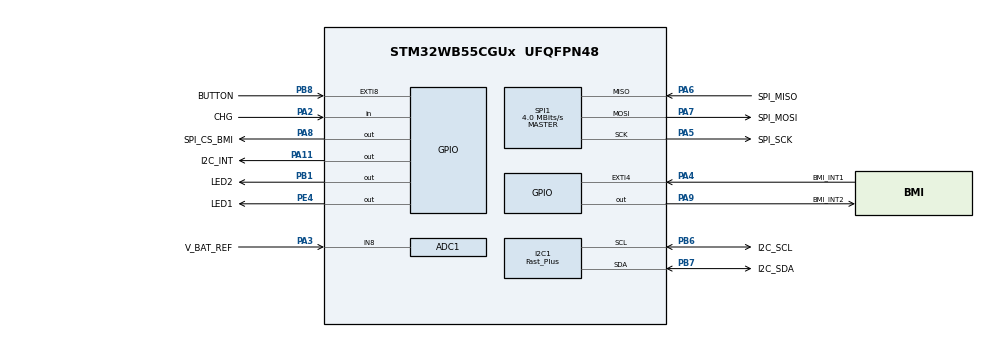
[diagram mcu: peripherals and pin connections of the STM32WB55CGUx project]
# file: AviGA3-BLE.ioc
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ADC1.Channel-0\#ChannelRegularConversion=ADC_CHANNEL_8
ADC1.NbrOfConversionFlag=1
ADC1.OffsetNumber-0\#ChannelRegularConversion=ADC_OFFSET_NONE
ADC1.Rank-0\#ChannelRegularConversion=1
ADC1.SamplingTime-0\#ChannelRegularConversion=ADC_SAMPLETIME_2CYCLES_5
ADC1.master=1
Dma.I2C1_RX.0.Direction=DMA_PERIPH_TO_MEMORY
Dma.I2C1_RX.0.EventEnable=DISABLE
Dma.I2C1_RX.0.Instance=DMA1_Channel1
Dma.I2C1_RX.0.MemDataAlignment=DMA_MDATAALIGN_BYTE
Dma.I2C1_RX.0.MemInc=DMA_MINC_ENABLE
Dma.I2C1_RX.0.Mode=DMA_NORMAL
Dma.I2C1_RX.0.PeriphDataAlignment=DMA_PDATAALIGN_BYTE
Dma.I2C1_RX.0.PeriphInc=DMA_PINC_DISABLE
Dma.I2C1_RX.0.Polarity=HAL_DMAMUX_REQ_GEN_RISING
Dma.I2C1_RX.0.Priority=DMA_PRIORITY_LOW
Dma.I2C1_RX.0.RequestNumber=1
Dma.I2C1_RX.0.SignalID=NONE
Dma.I2C1_RX.0.SyncEnable=DISABLE
Dma.I2C1_RX.0.SyncPolarity=HAL_DMAMUX_SYNC_NO_EVENT
Dma.I2C1_RX.0.SyncRequestNumber=1
Dma.I2C1_RX.0.SyncSignalID=NONE
Dma.I2C1_TX.1.Direction=DMA_MEMORY_TO_PERIPH
Dma.I2C1_TX.1.EventEnable=DISABLE
Dma.I2C1_TX.1.Instance=DMA1_Channel2
Dma.I2C1_TX.1.MemDataAlignment=DMA_MDATAALIGN_BYTE
Dma.I2C1_TX.1.MemInc=DMA_MINC_ENABLE
Dma.I2C1_TX.1.Mode=DMA_NORMAL
Dma.I2C1_TX.1.PeriphDataAlignment=DMA_PDATAALIGN_BYTE
Dma.I2C1_TX.1.PeriphInc=DMA_PINC_DISABLE
Dma.I2C1_TX.1.Polarity=HAL_DMAMUX_REQ_GEN_RISING
Dma.I2C1_TX.1.Priority=DMA_PRIORITY_LOW
Dma.I2C1_TX.1.RequestNumber=1
Dma.I2C1_TX.1.SignalID=NONE
Dma.I2C1_TX.1.SyncEnable=DISABLE
Dma.I2C1_TX.1.SyncPolarity=HAL_DMAMUX_SYNC_NO_EVENT
Dma.I2C1_TX.1.SyncRequestNumber=1
Dma.I2C1_TX.1.SyncSignalID=NONE
Dma.Request0=I2C1_RX
Dma.Request1=I2C1_TX
I2C1.I2C_Fall_Time=0
I2C1.I2C_Rise_Time=0
I2C1.I2C_Speed_Mode=I2C_Fast_Plus
I2C1.OwnAddress=0x0
I2C1.Speed=1000
I2C1.Timing=0x00100413
Mcu.Family=STM32WB
Mcu.Name=STM32WB55CGUx
Mcu.Package=UFQFPN48
NVIC.DMA1_Channel1_IRQn=true\:0\:0\:false\:false\:true\:false\:true\:true
NVIC.DMA1_Channel2_IRQn=true\:0\:0\:false\:false\:true\:false\:true\:true
NVIC.EXTI4_IRQn=true\:1\:0\:true\:false\:true\:true\:true\:true
NVIC.EXTI9_5_IRQn=true\:0\:0\:true\:false\:true\:true\:true\:true
NVIC.HSEM_IRQn=true\:0\:0\:false\:false\:true\:false\:true\:true
NVIC.I2C1_ER_IRQn=true\:0\:0\:false\:false\:true\:true\:true\:true
NVIC.I2C1_EV_IRQn=true\:2\:0\:true\:false\:true\:true\:true\:true
NVIC.IPCC_C1_RX_IRQn=true\:0\:0\:false\:false\:true\:true\:true\:true
NVIC.IPCC_C1_TX_IRQn=true\:0\:0\:false\:false\:true\:true\:true\:true
NVIC.PriorityGroup=NVIC_PRIORITYGROUP_4
NVIC.RTC_WKUP_IRQn=true\:0\:0\:false\:false\:true\:true\:true\:true
NVIC.TIM1_UP_TIM16_IRQn=true\:0\:0\:true\:false\:true\:true\:true\:true
NVIC.TIM2_IRQn=true\:0\:0\:false\:false\:true\:true\:true\:true
OSC_IN.Mode=HSE-External-Oscillator
OSC_IN.Signal=RCC_OSC_IN
OSC_OUT.Mode=HSE-External-Oscillator
OSC_OUT.Signal=RCC_OSC_OUT
PA11.GPIO_Label=I2C_INT
PA11.GPIO_PuPd=GPIO_PULLDOWN
PA11.Signal=GPIO_Output
PA13.GPIO_Label=SWDIO
PA13.Mode=Serial_Wire
PA13.Signal=SYS_JTMS-SWDIO
PA14.GPIO_Label=SWCLK
PA14.Mode=Serial_Wire
PA14.Signal=SYS_JTCK-SWCLK
PA2.GPIO_Label=CHG
PA2.GPIO_PuPd=GPIO_PULLUP
PA2.Signal=GPIO_Input
PA3.GPIO_Label=V_BAT_REF
PA3.Signal=ADCx_IN8
PA4.GPIO_Label=BMI_INT1
PA4.Signal=GPXTI4
PA5.GPIO_Label=SPI_SCK
PA5.Mode=Full_Duplex_Master
PA5.Signal=SPI1_SCK
PA6.GPIO_Label=SPI_MISO
PA6.Mode=Full_Duplex_Master
PA6.Signal=SPI1_MISO
PA7.GPIO_Label=SPI_MOSI
PA7.Mode=Full_Duplex_Master
PA7.Signal=SPI1_MOSI
PA8.GPIO_Label=SPI_CS_BMI
PA8.GPIO_PuPd=GPIO_PULLDOWN
PA8.Signal=GPIO_Output
PA9.GPIO_Label=BMI_INT2
PA9.Signal=GPIO_Output
PB1.GPIO_Label=LED2
PB1.PinState=GPIO_PIN_SET
PB1.Signal=GPIO_Output
PB6.GPIO_FM6=SYSCFG_FASTMODEPLUS_PB6
PB6.GPIO_Label=I2C_SCL
PB6.GPIO_Pu=GPIO_PULLUP
PB6.GPIO_Speed=GPIO_SPEED_FREQ_VERY_HIGH
PB6.Mode=I2C
PB6.Signal=I2C1_SCL
PB7.GPIO_FM7=SYSCFG_FASTMODEPLUS_PB7
PB7.GPIO_Label=I2C_SDA
PB7.GPIO_Pu=GPIO_PULLUP
PB7.GPIO_Speed=GPIO_SPEED_FREQ_VERY_HIGH
PB7.Mode=I2C
PB7.Signal=I2C1_SDA
PB8.GPIO_Label=BUTTON
PB8.GPIO_ModeDefaultEXTI=GPIO_MODE_IT_FALLING
PB8.Signal=GPXTI8
PC14-OSC32_IN.Mode=LSE-External-Oscillator
PC14-OSC32_IN.Signal=RCC_OSC32_IN
PC15-OSC32_OUT.Mode=LSE-External-Oscillator
PC15-OSC32_OUT.Signal=RCC_OSC32_OUT
PE4.GPIO_Label=LED1
PE4.PinState=GPIO_PIN_SET
PE4.Signal=GPIO_Output
ProjectManager.HeapSize=0x200
ProjectManager.StackSize=0x400
ProjectManager.TargetToolchain=STM32CubeIDE
RCC.ADCFreq_Value=48000000
RCC.AHBFreq_Value=32000000
RCC.APB1Freq_Value=32000000
RCC.APB1TimFreq_Value=32000000
RCC.APB2Freq_Value=32000000
RCC.APB2TimFreq_Value=32000000
RCC.APB3Freq_Value=16000000
RCC.CortexFreq_Value=32000000
RCC.HCLKFreq_Value=32000000
RCC.HSE_VALUE=32000000
RCC.HSI48_VALUE=48000000
RCC.HSI_VALUE=16000000
RCC.PLLN=24
RCC.PLLR=RCC_PLLR_DIV3
RCC.PLLSAI1N=24
RCC.RFWKPClockSelection=RCC_RFWKPCLKSOURCE_LSE
RCC.RTCClockSelection=RCC_RTCCLKSOURCE_LSE
RCC.SMPSCLockSelectionVirtual=RCC_SMPSCLKSOURCE_HSE
RCC.SYSCLKFreq_VALUE=32000000
RCC.SYSCLKSource=RCC_SYSCLKSOURCE_PLLCLK
RCC.USBFreq_Value=48000000
RCC.VCOOutputFreq_Value=96000000
RF1.Mode=RF1_Activate
RF1.Signal=RF_RF1
SH.ADCx_IN8.0=ADC1_IN8,IN8-Single-Ended
SPI1.BaudRatePrescaler=SPI_BAUDRATEPRESCALER_8
SPI1.CalculateBaudRate=4.0 MBits/s
SPI1.DataSize=SPI_DATASIZE_8BIT
SPI1.Direction=SPI_DIRECTION_2LINES
SPI1.Mode=SPI_MODE_MASTER
SPI1.VirtualType=VM_MASTER
STM32_WPAN.AD_TYPE_COMPLETE_LOCAL_NAME=AVIGA_SX
STM32_WPAN.CFG_GAP_DEVICE_NAME=AVIGA
STM32_WPAN.CFG_GAP_DEVICE_NAME_LENGTH=5
STM32_WPAN.CUSTOM_P2P_SERVER=Disabled
STM32_WPAN.CUSTOM_TEMPLATE=Enabled
STM32_WPAN.GAP_PERIPHERAL_ROLE=1
STM32_WPAN.INCLUDE_AD_TYPE_COMPLETE_LOCAL_NAME=1
STM32_WPAN.INCLUDE_AD_TYPE_MANUFACTURER_SPECIFIC_DATA=1
STM32_WPAN.NUMBER_OF_SERVICES=1
STM32_WPAN.SERVICE1_CHAR1_GATT_NOTIFY_ATTRIBUTE_WRITE=\ 
STM32_WPAN.SERVICE1_CHAR1_GATT_NOTIFY_WRITE_REQ_AND_WAIT_FOR_APPL_RESP=\ 
STM32_WPAN.SERVICE1_CHAR1_LONG_NAME=DATA
STM32_WPAN.SERVICE1_CHAR1_PROP_NOTIFY=CHAR_PROP_NOTIFY
STM32_WPAN.SERVICE1_CHAR1_PROP_READ=CHAR_PROP_READ
STM32_WPAN.SERVICE1_CHAR1_SHORT_NAME=DATA
STM32_WPAN.SERVICE1_CHAR1_UUID_128_INPUT_TYPE=1
STM32_WPAN.SERVICE1_CHAR1_VALUE_LENGTH=153
STM32_WPAN.SERVICE1_CHAR2_GATT_NOTIFY_ATTRIBUTE_WRITE=\ 
STM32_WPAN.SERVICE1_CHAR2_GATT_NOTIFY_WRITE_REQ_AND_WAIT_FOR_APPL_RESP=\ 
STM32_WPAN.SERVICE1_CHAR2_LONG_NAME=BATTERY
STM32_WPAN.SERVICE1_CHAR2_PROP_READ=CHAR_PROP_READ
STM32_WPAN.SERVICE1_CHAR2_SHORT_NAME=BATTERY
STM32_WPAN.SERVICE1_CHAR2_UUID=00 00 00 00 00 00 00 00 00 00 00 00 00 00 00 01
STM32_WPAN.SERVICE1_CHAR2_UUID_128_INPUT_TYPE=1
STM32_WPAN.SERVICE1_CHAR3_GATT_NOTIFY_ATTRIBUTE_WRITE=GATT_NOTIFY_ATTRIBUTE_WRITE
STM32_WPAN.SERVICE1_CHAR3_GATT_NOTIFY_READ_REQ_AND_WAIT_FOR_APPL_RESP=\ 
STM32_WPAN.SERVICE1_CHAR3_GATT_NOTIFY_WRITE_REQ_AND_WAIT_FOR_APPL_RESP=\ 
STM32_WPAN.SERVICE1_CHAR3_LONG_NAME=SETTINGS
STM32_WPAN.SERVICE1_CHAR3_PROP_READ=CHAR_PROP_READ
STM32_WPAN.SERVICE1_CHAR3_PROP_WRITE=CHAR_PROP_WRITE
STM32_WPAN.SERVICE1_CHAR3_SHORT_NAME=SETTINGS
STM32_WPAN.SERVICE1_CHAR3_UUID=00 00 00 00 00 00 00 00 00 00 00 00 00 00 00 02
STM32_WPAN.SERVICE1_CHAR3_UUID_128_INPUT_TYPE=1
STM32_WPAN.SERVICE1_CHAR3_VALUE_LENGTH=3
STM32_WPAN.SERVICE1_CHAR4_GATT_NOTIFY_READ_REQ_AND_WAIT_FOR_APPL_RESP=\ 
STM32_WPAN.SERVICE1_CHAR4_GATT_NOTIFY_WRITE_REQ_AND_WAIT_FOR_APPL_RESP=\ 
STM32_WPAN.SERVICE1_CHAR4_LONG_NAME=SYNC_TIMER
STM32_WPAN.SERVICE1_CHAR4_PROP_READ=CHAR_PROP_READ
STM32_WPAN.SERVICE1_CHAR4_PROP_WRITE=CHAR_PROP_WRITE
STM32_WPAN.SERVICE1_CHAR4_SHORT_NAME=SYNC_TIMER
STM32_WPAN.SERVICE1_CHAR4_UUID=00 00 00 00 00 00 00 00 00 00 00 00 00 00 00 03
STM32_WPAN.SERVICE1_CHAR4_UUID_128_INPUT_TYPE=1
STM32_WPAN.SERVICE1_CHAR4_UUID_TYPE=0x02
STM32_WPAN.SERVICE1_CHAR4_VALUE_LENGTH=4
STM32_WPAN.SERVICE1_CHAR5_GATT_NOTIFY_READ_REQ_AND_WAIT_FOR_APPL_RESP=\ 
STM32_WPAN.SERVICE1_CHAR5_GATT_NOTIFY_WRITE_REQ_AND_WAIT_FOR_APPL_RESP=\ 
STM32_WPAN.SERVICE1_CHAR5_LONG_NAME=START_STOP
STM32_WPAN.SERVICE1_CHAR5_PROP_READ=CHAR_PROP_READ
STM32_WPAN.SERVICE1_CHAR5_PROP_WRITE=CHAR_PROP_WRITE
STM32_WPAN.SERVICE1_CHAR5_SHORT_NAME=START_STOP
STM32_WPAN.SERVICE1_CHAR5_UUID=00 00 00 00 00 00 00 00 00 00 00 00 00 00 00 04
STM32_WPAN.SERVICE1_CHAR5_UUID_128_INPUT_TYPE=1
STM32_WPAN.SERVICE1_LONG_NAME=AVIGA
STM32_WPAN.SERVICE1_NUMBER_OF_CHARACTERISTICS=5
STM32_WPAN.SERVICE1_SHORT_NAME=AVIGA
STM32_WPAN.SERVICE1_UUID_128_INPUT_TYPE=0
TIM1.Period=1000-1
TIM1.Prescaler=32000-1
TIM1.TIM_MasterOutputTrigger=TIM_TRGO_UPDATE
TIM16.Period=16000-1
TIM16.Prescaler=20000-1
TIM2.Period=100-1
TIM2.Prescaler=32000-1
VP_HSEM_VS_HSEM.Mode=HSEM_Activate
VP_IPCC_VS_IPCC.Mode=IPCC_Activate
VP_RTC_VS_RTC_Activate.Mode=RTC_Enabled
VP_RTC_VS_RTC_WakeUp_intern.Mode=WakeUp
VP_SEQUENCER_VS_SEQUENCER.Mode=SEQUENCER_Enabled
VP_STM32_WPAN_VS_BLE_HOST.Mode=STM32_WPAN_Enabled
VP_TIM16_VS_ClockSourceINT.Mode=Enable_Timer
VP_TIM1_VS_ClockSourceINT.Mode=Internal
VP_TIM2_VS_ClockSourceINT.Mode=Internal
VP_TINY_LPM_VS_TINY_LPM.Mode=TINY_LPM_Enabled
board=custom

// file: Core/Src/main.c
/* USER CODE BEGIN Header */
/**
 ******************************************************************************
 * @file           : main.c
 * @brief          : Main program body
 ******************************************************************************
 * @attention
 *
 * Copyright (c) 2023 STMicroelectronics.
 * All rights reserved.
 *
 * This software is licensed under terms that can be found in the LICENSE file
 * in the root directory of this software component.
 * If no LICENSE file comes with this software, it is provided AS-IS.
 *
 ******************************************************************************
 */
/* USER CODE END Header */
#include "main.h"
#include "adc.h"
#include "dma.h"
#include "i2c.h"
#include "ipcc.h"
#include "rf.h"
#include "rtc.h"
#include "spi.h"
#include "tim.h"
#include "gpio.h"

/* USER CODE BEGIN Includes */

//COMMON
#include <common.h>

//MEAS
#include <meas.h>

//I2c
#include <i2c_custom.h>

//Power Management
#include <powerManagement.h>

/* USER CODE END Includes */

/* USER CODE BEGIN PV */

//GENERAL (Unique Sensor Number to identify sensor node)
uint8_t sensor_nr = 1;

//BATTERY
uint8_t battery_level = 0;

//IMU
struct bmi2_dev bmi2_dev;
uint8_t fifo_data[BMI2_FIFO_RAW_DATA_BUFFER_SIZE] = { 0 };
struct bmi2_fifo_frame fifoframe = {.data = fifo_data, .length = BMI2_FIFO_RAW_DATA_USER_LENGTH};

//I2C
uint8_t i2c_buffer[I2C_BUFF_SIZE] = {0};

//BLE
uint8_t ble_buffer[BLE_BUFF_SIZE] = {0};
uint8_t ble_flag = OFF;

/* USER CODE END PV */

void SystemClock_Config(void);
void PeriphCommonClock_Config(void);

int main(void)
{

  /* MCU Configuration--------------------------------------------------------*/

  /* Reset of all peripherals, Initializes the Flash interface and the Systick. */
  HAL_Init();
  /* Config code for STM32_WPAN (HSE Tuning must be done before system clock configuration) */
  MX_APPE_Config();

  /* Configure the system clock */
  SystemClock_Config();

/* Configure the peripherals common clocks */
  PeriphCommonClock_Config();

  /* IPCC initialisation */
  MX_IPCC_Init();

  /* Initialize all configured peripherals */
  MX_GPIO_Init();
  MX_DMA_Init();
  MX_I2C1_Init();
  MX_SPI1_Init();
  MX_TIM1_Init();
  MX_ADC1_Init();
  MX_TIM2_Init();
  MX_RTC_Init();
  MX_TIM16_Init();
  MX_RF_Init();
  /* USER CODE BEGIN 2 */

	//MEAS: Sensor Init
	sensor = meas_initSensor(sensor, sensor_nr);

	//IMU: Initialize BMI270
	imu_init(&bmi2_dev);

	//I2C: Set I2C-Slave Address
	hi2c1.Init.OwnAddress1 = sensor.i2c_address;
	HAL_I2C_Init(&hi2c1);

	//I2C: Start listening for commands
	HAL_I2C_Slave_Receive_IT(&hi2c1, i2c_buffer, I2C_HEADER_SIZE);

  /* USER CODE END 2 */

  /* Init code for STM32_WPAN */
  MX_APPE_Init();

  /* Infinite loop */
  /* USER CODE BEGIN WHILE */
	while (1)
	{
		//COMMON: Switch LED
		common_Handler();

		//MEAS: Start/Stop measurement, Process new FIFO data
		meas_Handler();

		//POWER: Get status of charger pin and control green led
		powerManagement_getChargerState();

		//POWER: Get capacity of battery in %
		battery_level = powerManagement_getBatteryLevel();

		//SLEEP mode for energy saving in BLE
		if(sensor.active == ON && sensor.transfer_mode == MODE_BLE)
		{
			HAL_SuspendTick();
			HAL_PWR_EnterSLEEPMode(PWR_MAINREGULATOR_ON, PWR_SLEEPENTRY_WFI);
		}

    /* USER CODE END WHILE */
    MX_APPE_Process();

	}
}

void SystemClock_Config(void)
{
  RCC_OscInitTypeDef RCC_OscInitStruct = {0};
  RCC_ClkInitTypeDef RCC_ClkInitStruct = {0};

  /** Configure LSE Drive Capability
  */
  HAL_PWR_EnableBkUpAccess();
  __HAL_RCC_LSEDRIVE_CONFIG(RCC_LSEDRIVE_MEDIUMHIGH);

  /** Configure the main internal regulator output voltage
  */
  __HAL_PWR_VOLTAGESCALING_CONFIG(PWR_REGULATOR_VOLTAGE_SCALE1);

  /** Initializes the RCC Oscillators according to the specified parameters
  * in the RCC_OscInitTypeDef structure.
  */
  RCC_OscInitStruct.OscillatorType = RCC_OSCILLATORTYPE_HSI|RCC_OSCILLATORTYPE_HSE
                              |RCC_OSCILLATORTYPE_LSE|RCC_OSCILLATORTYPE_MSI;
  RCC_OscInitStruct.HSEState = RCC_HSE_ON;
  RCC_OscInitStruct.LSEState = RCC_LSE_ON;
  RCC_OscInitStruct.HSIState = RCC_HSI_ON;
  RCC_OscInitStruct.MSIState = RCC_MSI_ON;
  RCC_OscInitStruct.HSICalibrationValue = RCC_HSICALIBRATION_DEFAULT;
  RCC_OscInitStruct.MSICalibrationValue = RCC_MSICALIBRATION_DEFAULT;
  RCC_OscInitStruct.MSIClockRange = RCC_MSIRANGE_6;
  RCC_OscInitStruct.PLL.PLLState = RCC_PLL_ON;
  RCC_OscInitStruct.PLL.PLLSource = RCC_PLLSOURCE_MSI;
  RCC_OscInitStruct.PLL.PLLM = RCC_PLLM_DIV1;
  RCC_OscInitStruct.PLL.PLLN = 24;
  RCC_OscInitStruct.PLL.PLLP = RCC_PLLP_DIV2;
  RCC_OscInitStruct.PLL.PLLR = RCC_PLLR_DIV3;
  RCC_OscInitStruct.PLL.PLLQ = RCC_PLLQ_DIV2;
  if (HAL_RCC_OscConfig(&RCC_OscInitStruct) != HAL_OK)
  {
    Error_Handler();
  }

  /** Configure the SYSCLKSource, HCLK, PCLK1 and PCLK2 clocks dividers
  */
  RCC_ClkInitStruct.ClockType = RCC_CLOCKTYPE_HCLK4|RCC_CLOCKTYPE_HCLK2
                              |RCC_CLOCKTYPE_HCLK|RCC_CLOCKTYPE_SYSCLK
                              |RCC_CLOCKTYPE_PCLK1|RCC_CLOCKTYPE_PCLK2;
  RCC_ClkInitStruct.SYSCLKSource = RCC_SYSCLKSOURCE_PLLCLK;
  RCC_ClkInitStruct.AHBCLKDivider = RCC_SYSCLK_DIV1;
  RCC_ClkInitStruct.APB1CLKDivider = RCC_HCLK_DIV1;
  RCC_ClkInitStruct.APB2CLKDivider = RCC_HCLK_DIV1;
  RCC_ClkInitStruct.AHBCLK2Divider = RCC_SYSCLK_DIV1;
  RCC_ClkInitStruct.AHBCLK4Divider = RCC_SYSCLK_DIV1;

  if (HAL_RCC_ClockConfig(&RCC_ClkInitStruct, FLASH_LATENCY_1) != HAL_OK)
  {
    Error_Handler();
  }
}

void PeriphCommonClock_Config(void)
{
  RCC_PeriphCLKInitTypeDef PeriphClkInitStruct = {0};

  /** Initializes the peripherals clock
  */
  PeriphClkInitStruct.PeriphClockSelection = RCC_PERIPHCLK_SMPS|RCC_PERIPHCLK_RFWAKEUP;
  PeriphClkInitStruct.RFWakeUpClockSelection = RCC_RFWKPCLKSOURCE_LSE;
  PeriphClkInitStruct.SmpsClockSelection = RCC_SMPSCLKSOURCE_HSE;
  PeriphClkInitStruct.SmpsDivSelection = RCC_SMPSCLKDIV_RANGE0;

  if (HAL_RCCEx_PeriphCLKConfig(&PeriphClkInitStruct) != HAL_OK)
  {
    Error_Handler();
  }
}

void Error_Handler(void)
{
	__disable_irq();
	while (1)
	{
	}
}
